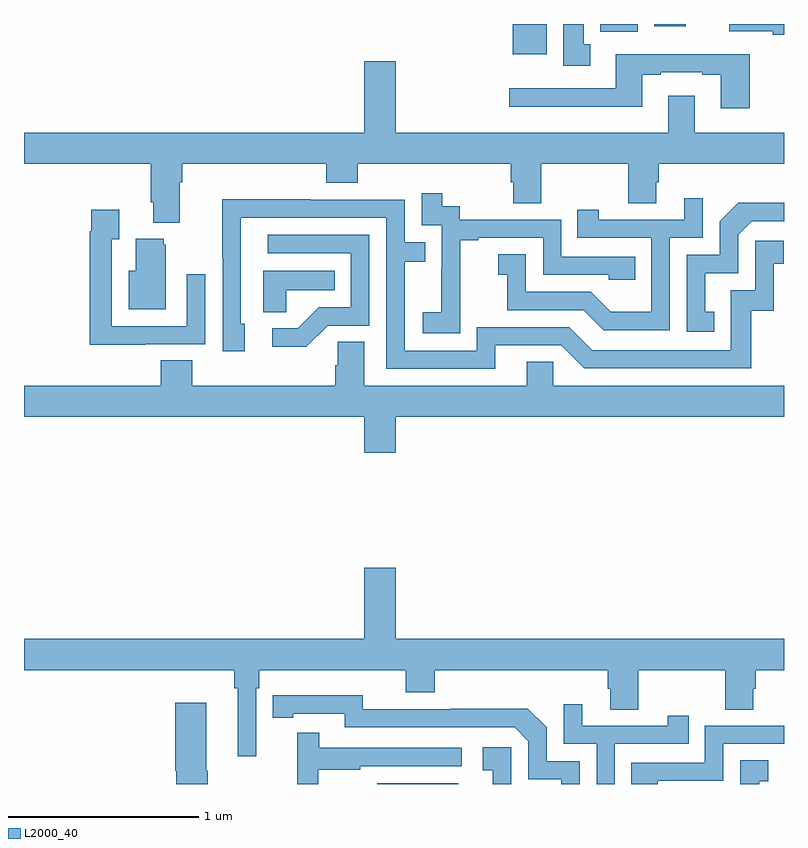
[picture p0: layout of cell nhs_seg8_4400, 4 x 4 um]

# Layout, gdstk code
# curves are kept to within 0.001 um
import gdstk
lib = gdstk.Library(unit=1e-6, precision=1e-09)
def R(c, l, rs):  # rectangles x0, y0, x1, y1
    for r in rs: c.add(gdstk.rectangle(r[:2], r[2:], *l))
def P(c, l, *ps):  # polygons
    for p in ps: c.add(gdstk.Polygon(p, *l))
L2000_40 = (2000, 40)

nhs_seg8_4400 = lib.new_cell('nhs_seg8_4400')
R(nhs_seg8_4400, L2000_40, [(380.859,1115.9,381.286,1115.905), (381.572,1119.74,381.751,1119.9), (382.034,1119.86,382.231,1119.9), (382.316,1119.888,382.483,1119.9)])
P(nhs_seg8_4400, L2000_40, [(381.979,1119.794),(381.946,1119.794),(381.946,1119.9),(381.839,1119.9),(381.839,1119.681),(381.979,1119.681)],
  [(383,1119.9),(382.712,1119.9),(382.712,1119.863),(382.94,1119.863),(382.94,1119.844),(383,1119.844)],
  [(382.82,1119.742),(382.115,1119.742),(382.115,1119.561),(381.555,1119.561),(381.555,1119.464),(382.255,1119.464),(382.255,1119.633),(382.351,1119.633),(382.351,1119.645),(382.571,1119.645),(382.571,1119.633),(382.667,1119.633),(382.667,1119.456),(382.82,1119.456)],
  [(379.819,1119.068),(379.832,1119.068),(379.832,1119.164),(380.591,1119.164),(380.591,1119.065),(380.756,1119.065),(380.756,1119.164),(381.563,1119.164),(381.563,1119.066),(381.575,1119.066),(381.575,1118.956),(381.723,1118.956),(381.723,1119.164),(382.18,1119.164),(382.18,1118.956),(382.327,1118.956),(382.327,1119.066),(382.34,1119.066),(382.34,1119.164),(383,1119.164),(383,1119.328),(382.531,1119.328),(382.531,1119.523),(382.391,1119.523),(382.391,1119.328),(380.956,1119.328),(380.956,1119.703),(380.792,1119.703),(380.792,1119.328),(379,1119.328),(379,1119.164),(379.667,1119.164),(379.667,1118.962),(379.679,1118.962),(379.679,1118.855),(379.819,1118.855)],
  [(381.297,1118.479),(381.296,1118.479),(381.296,1118.763),(381.391,1118.763),(381.391,1118.775),(381.732,1118.775),(381.732,1118.58),(382.077,1118.58),(382.077,1118.553),(382.217,1118.553),(382.217,1118.676),(381.828,1118.676),(381.828,1118.871),(381.294,1118.871),(381.294,1118.94),(381.202,1118.94),(381.202,1119.01),(381.093,1119.01),(381.093,1118.841),(381.198,1118.841),(381.198,1118.612),(381.197,1118.612),(381.197,1118.383),(381.099,1118.383),(381.099,1118.273),(381.297,1118.273)],
  [(382.398,1118.775),(382.572,1118.775),(382.572,1118.983),(382.475,1118.983),(382.475,1118.871),(382.024,1118.871),(382.024,1118.923),(381.913,1118.923),(381.913,1118.775),(382.302,1118.775),(382.302,1118.386),(382.088,1118.386),(381.984,1118.49),(381.642,1118.49),(381.642,1118.689),(381.495,1118.689),(381.495,1118.579),(381.544,1118.579),(381.544,1118.394),(381.947,1118.394),(382.052,1118.289),(382.398,1118.289)],
  [(381.481,1118.208),(381.828,1118.208),(381.948,1118.088),(382.828,1118.088),(382.828,1118.391),(382.946,1118.391),(382.946,1118.637),(382.999,1118.637),(382.999,1118.758),(382.848,1118.758),(382.848,1118.499),(382.719,1118.499),(382.719,1118.184),(381.99,1118.184),(381.87,1118.304),(381.384,1118.304),(381.384,1118.181),(381.003,1118.181),(381.003,1118.65),(381.113,1118.65),(381.113,1118.751),(381.003,1118.751),(381.003,1118.976),(380.507,1118.976),(380.507,1118.978),(380.044,1118.978),(380.044,1118.671),(380.046,1118.671),(380.046,1118.178),(380.161,1118.178),(380.161,1118.322),(380.142,1118.322),(380.142,1118.88),(380.907,1118.88),(380.907,1118.085),(381.481,1118.085)],
  [(382.634,1118.385),(382.585,1118.385),(382.585,1118.589),(382.758,1118.589),(382.758,1118.79),(382.83,1118.862),(383,1118.862),(383,1118.96),(382.76,1118.96),(382.662,1118.862),(382.662,1118.685),(382.488,1118.685),(382.488,1118.28),(382.634,1118.28)],
  [(379.637,1118.214),(379.953,1118.214),(379.953,1118.584),(379.857,1118.584),(379.857,1118.31),(379.461,1118.31),(379.461,1118.767),(379.501,1118.767),(379.501,1118.923),(379.353,1118.923),(379.353,1118.81),(379.345,1118.81),(379.345,1118.213),(379.637,1118.213)],
  [(380.598,1118.313),(380.817,1118.313),(380.817,1118.79),(380.283,1118.79),(380.283,1118.694),(380.721,1118.694),(380.721,1118.409),(380.552,1118.409),(380.441,1118.298),(380.307,1118.298),(380.307,1118.201),(380.485,1118.201)],
  [(379.747,1118.739),(379.736,1118.739),(379.736,1118.77),(379.589,1118.77),(379.589,1118.602),(379.55,1118.602),(379.55,1118.399),(379.747,1118.399)],
  [(380.379,1118.498),(380.636,1118.498),(380.636,1118.602),(380.258,1118.602),(380.258,1118.383),(380.379,1118.383)],
  [(380.956,1117.832),(383,1117.832),(383,1117.996),(381.786,1117.996),(381.786,1118.123),(381.647,1118.123),(381.647,1117.996),(380.791,1117.996),(380.791,1118.228),(380.652,1118.228),(380.652,1118.105),(380.639,1118.105),(380.639,1117.996),(379.886,1117.996),(379.886,1118.129),(379.721,1118.129),(379.721,1117.996),(379,1117.996),(379,1117.832),(380.792,1117.832),(380.792,1117.644),(380.956,1117.644)],
  [(380.223,1116.404),(380.237,1116.404),(380.237,1116.5),(381.008,1116.5),(381.008,1116.383),(381.161,1116.383),(381.161,1116.5),(382.073,1116.5),(382.073,1116.402),(382.085,1116.402),(382.085,1116.292),(382.233,1116.292),(382.233,1116.5),(382.69,1116.5),(382.69,1116.292),(382.837,1116.292),(382.837,1116.402),(382.85,1116.402),(382.85,1116.5),(383,1116.5),(383,1116.664),(380.956,1116.664),(380.956,1117.039),(380.792,1117.039),(380.792,1116.664),(379,1116.664),(379,1116.5),(380.107,1116.5),(380.107,1116.404),(380.126,1116.404),(380.126,1116.045),(380.223,1116.045)],
  [(381.924,1116.021),(381.75,1116.021),(381.75,1116.198),(381.652,1116.296),(381.244,1116.296),(381.244,1116.294),(380.784,1116.294),(380.784,1116.367),(380.308,1116.366),(380.308,1116.25),(380.416,1116.25),(380.416,1116.27),(380.688,1116.27),(380.688,1116.198),(381.582,1116.198),(381.654,1116.126),(381.654,1115.925),(381.827,1115.925),(381.827,1115.9),(381.924,1115.9)],
  [(379.968,1115.97),(379.96,1115.97),(379.96,1116.328),(379.796,1116.328),(379.796,1115.97),(379.802,1115.97),(379.802,1115.9),(379.968,1115.9)],
  [(382.11,1116.111),(382.499,1116.111),(382.499,1116.259),(382.388,1116.259),(382.388,1116.207),(381.937,1116.207),(381.937,1116.319),(381.84,1116.319),(381.84,1116.111),(382.014,1116.111),(382.014,1115.9),(382.11,1115.9)],
  [(382.335,1115.916),(382.68,1115.916),(382.68,1116.111),(383,1116.111),(383,1116.207),(382.584,1116.207),(382.584,1116.012),(382.195,1116.012),(382.195,1115.9),(382.335,1115.9)],
  [(380.548,1115.974),(380.771,1115.974),(380.771,1115.994),(381.304,1115.994),(381.304,1116.09),(380.555,1116.09),(380.555,1116.169),(380.438,1116.169),(380.438,1115.9),(380.548,1115.9)],
  [(381.564,1116.094),(381.414,1116.094),(381.414,1115.973),(381.467,1115.973),(381.467,1115.9),(381.564,1115.9)],
  [(382.869,1115.915),(382.918,1115.915),(382.918,1116.025),(382.77,1116.025),(382.77,1115.9),(382.869,1115.9)])

lib.write_gds('nhs_seg8_4400.gds')
